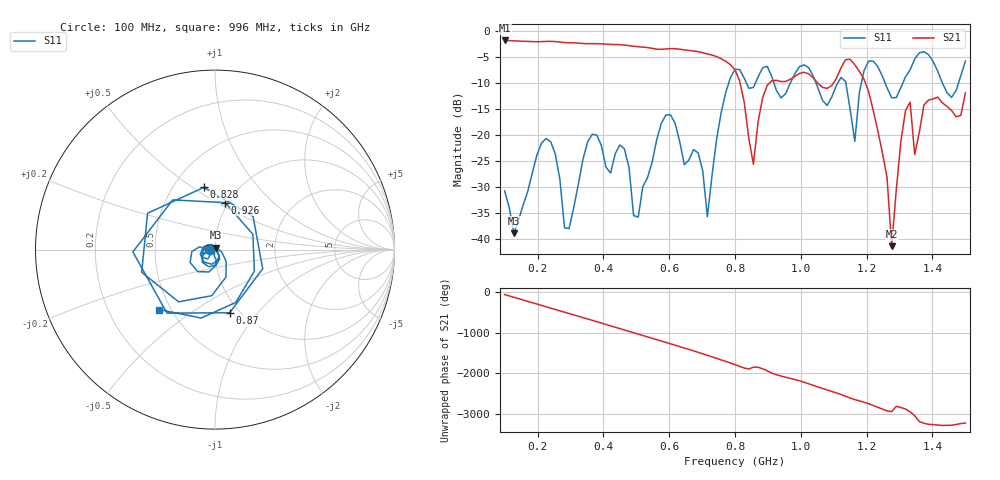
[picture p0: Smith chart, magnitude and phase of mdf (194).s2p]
! NanoVNA-App
! Date: 2025-09-25 15:39:56
! Start: 100MHz Stop: 1,5GHz Points: 101
! S-Parameter data: F S11 S21 S12 S22
# Hz S RI R 50
!  Frequency  S11_Real  S11_Imag  S21_Real  S21_Imag  S12_Real  S12_Imag  S22_Real  S22_Imag
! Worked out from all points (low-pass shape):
!   101 points, 100 MHz to 1.5 GHz, reference 50 ohm
!   highest |S21| = -1.80 dB at 100 MHz (marker M1); lowest = -41.4 dB at 1.276 GHz (marker M2)
!   |S21| within 3 dB of the highest: start of sweep to 739.1 MHz
!   lowest |S11| = -39.0 dB at 128 MHz (marker M3), VSWR 1.02, Z = 50.3 + j1.08 ohm
!   |S11| at or under -10 dB: start of sweep to 781 MHz; 1.046 GHz to 1.112 GHz (66.42 MHz wide, 6.15 % of centre); 1.256 GHz to 1.31 GHz (53.96 MHz wide, 4.21 % of centre) (the widest 3 of 7)
!   S12 and S22 are empty: the file has one direction only
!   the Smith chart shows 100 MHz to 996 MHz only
!   S11 on the Smith chart (normalised r, x): 100 MHz: 0.94, -0.01; 828 MHz: 0.70, +0.56; 870 MHz: 0.90, -0.73; 926 MHz: 0.97, +0.55; 996 MHz: 0.43, -0.37
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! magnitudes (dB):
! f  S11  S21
! 100 MHz  -30.8  -1.8
! 128 MHz  -39.0  -1.9
! 212 MHz  -21.6  -2.0
! 282 MHz  -37.9  -2.2
! 338 MHz  -24.7  -2.4
! 464 MHz  -22.7  -2.7
! 506 MHz  -35.8  -3.0
! 576 MHz  -17.8  -3.5
! 716 MHz  -35.7  -4.4
! 800 MHz  -7.4  -7.5
! 828 MHz  -9.1  -13.7
! 856 MHz  -10.9  -25.6
! 870 MHz  -8.8  -17.5
! 926 MHz  -11.4  -9.5
! 996 MHz  -6.8  -8.2
! 1.038 GHz  -8.7  -9.0
! 1.164 GHz  -21.2  -6.5
! 1.192 GHz  -7.6  -9.3
! 1.276 GHz  -12.8  -41.4
! 1.318 GHz  -8.8  -15.3
! 1.346 GHz  -5.4  -23.8
! 1.5 GHz  -5.8  -11.9
